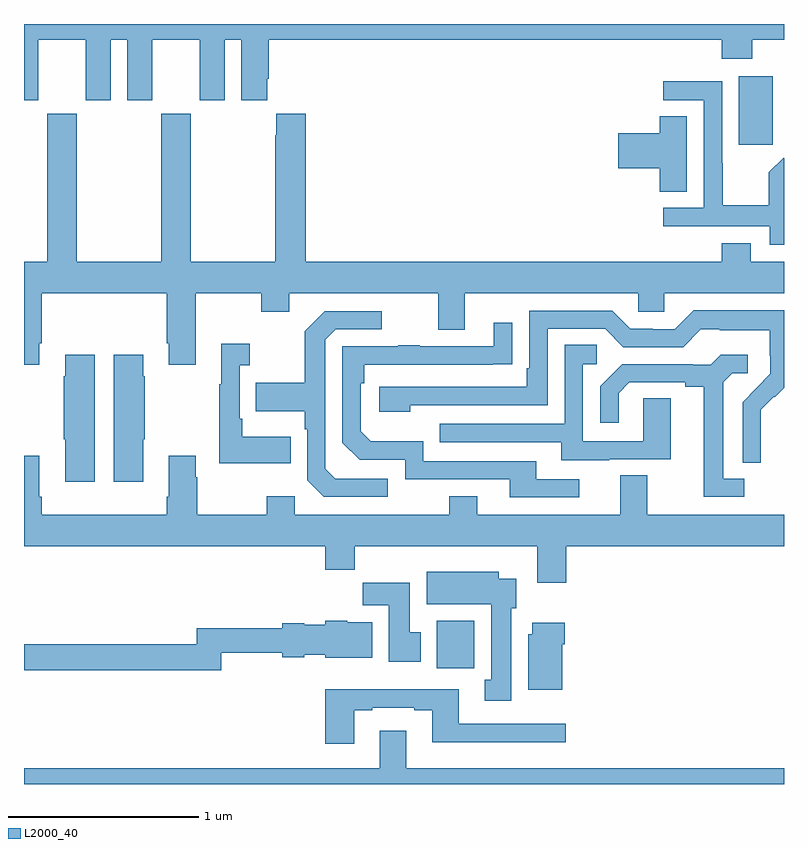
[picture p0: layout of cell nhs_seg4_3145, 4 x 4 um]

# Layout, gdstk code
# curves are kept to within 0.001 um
import gdstk
lib = gdstk.Library(unit=1e-6, precision=1e-09)
def R(c, l, rs):  # rectangles x0, y0, x1, y1
    for r in rs: c.add(gdstk.rectangle(r[:2], r[2:], *l))
def P(c, l, *ps):  # polygons
    for p in ps: c.add(gdstk.Polygon(p, *l))
L2000_40 = (2000, 40)

nhs_seg4_3145 = lib.new_cell('nhs_seg4_3145')
R(nhs_seg4_3145, L2000_40, [(279.173,797.508,279.369,797.758), (280.763,800.265,280.942,800.626)])
P(nhs_seg4_3145, L2000_40, [(277.075,800.816),(277.325,800.816),(277.325,800.499),(277.456,800.499),(277.456,800.816),(277.544,800.816),(277.544,800.499),(277.675,800.499),(277.675,800.816),(277.925,800.816),(277.925,800.499),(278.056,800.499),(278.056,800.816),(278.144,800.816),(278.144,800.499),(278.281,800.499),(278.281,800.611),(278.288,800.611),(278.288,800.816),(280.673,800.816),(280.673,800.717),(280.833,800.717),(280.833,800.816),(281,800.816),(281,800.9),(277,800.9),(277,800.499),(277.075,800.499)],
  [(281,800.194),(280.998,800.196),(280.921,800.119),(280.921,799.945),(280.677,799.945),(280.677,800.168),(280.674,800.168),(280.674,800.598),(280.365,800.598),(280.365,800.499),(280.578,800.499),(280.578,799.932),(280.365,799.932),(280.365,799.836),(280.926,799.836),(280.926,799.739),(281,799.739)],
  [(277.878,800.428),(277.723,800.428),(277.723,799.648),(277.278,799.648),(277.278,800.428),(277.123,800.428),(277.123,799.648),(277,799.648),(277,799.107),(277.081,799.107),(277.081,799.219),(277.094,799.219),(277.094,799.484),(277.751,799.484),(277.751,799.219),(277.763,799.219),(277.763,799.107),(277.903,799.107),(277.903,799.484),(278.248,799.484),(278.248,799.385),(278.395,799.385),(278.395,799.484),(279.179,799.484),(279.179,799.29),(279.319,799.29),(279.319,799.484),(280.233,799.484),(280.233,799.386),(280.371,799.386),(280.371,799.484),(281,799.484),(281,799.648),(280.825,799.648),(280.825,799.747),(280.673,799.747),(280.673,799.648),(278.483,799.648),(278.483,800.428),(278.327,800.428),(278.327,800.315),(278.323,800.315),(278.323,799.648),(277.878,799.648)],
  [(280.489,800.414),(280.346,800.414),(280.346,800.324),(280.128,800.324),(280.128,800.141),(280.346,800.141),(280.346,800.017),(280.489,800.017)],
  [(280.878,798.746),(280.877,798.869),(280.947,798.939),(280.95,798.936),(281,798.986),(281,799.393),(280.525,799.393),(280.425,799.293),(280.31,799.293),(280.31,799.296),(280.191,799.296),(280.095,799.392),(279.66,799.392),(279.66,799.087),(279.647,799.087),(279.647,798.99),(278.871,798.99),(278.871,798.86),(279.032,798.86),(279.032,798.894),(279.756,798.894),(279.756,799.296),(280.059,799.296),(280.155,799.2),(280.47,799.2),(280.563,799.293),(280.663,799.293),(280.663,799.289),(280.926,799.289),(280.926,799.155),(280.928,799.155),(280.928,799.058),(280.782,798.91),(280.782,798.592),(280.878,798.592)],
  [(278.914,798.507),(278.637,798.507),(278.586,798.558),(278.586,799.239),(278.64,799.293),(278.884,799.293),(278.884,799.389),(278.583,799.389),(278.478,799.283),(278.478,799.011),(278.221,799.011),(278.221,798.863),(278.478,798.863),(278.478,798.767),(278.49,798.767),(278.49,798.498),(278.577,798.411),(278.914,798.411)],
  [(279.922,798.504),(279.697,798.504),(279.697,798.6),(279.102,798.6),(279.102,798.703),(278.825,798.703),(278.772,798.756),(278.772,799.01),(278.792,799.01),(278.792,799.107),(279.569,799.108),(279.569,799.327),(279.473,799.327),(279.473,799.203),(279.083,799.203),(279.083,799.208),(278.971,799.208),(278.971,799.203),(278.676,799.203),(278.676,798.696),(278.766,798.606),(279.006,798.606),(279.006,798.504),(279.557,798.504),(279.557,798.408),(279.922,798.408)],
  [(278.405,798.727),(278.149,798.727),(278.149,798.823),(278.136,798.823),(278.136,799.103),(278.188,799.103),(278.188,799.216),(278.039,799.216),(278.039,799.003),(278.028,799.003),(278.028,798.587),(278.405,798.587)],
  [(280.081,798.609),(280.405,798.609),(280.405,798.929),(280.26,798.929),(280.26,798.705),(279.942,798.705),(279.942,799.11),(280.015,799.11),(280.015,799.211),(279.846,799.211),(279.846,798.795),(279.187,798.795),(279.187,798.699),(279.827,798.699),(279.827,798.605),(280.081,798.605)],
  [(280.792,798.507),(280.681,798.507),(280.681,799.015),(280.728,799.062),(280.81,799.062),(280.81,799.159),(280.666,799.159),(280.614,799.107),(280.52,799.107),(280.52,799.11),(280.148,799.11),(280.032,798.994),(280.032,798.801),(280.129,798.801),(280.129,798.957),(280.186,799.014),(280.481,799.014),(280.481,798.992),(280.577,798.992),(280.577,798.411),(280.792,798.411)],
  [(277.627,798.715),(277.635,798.715),(277.635,799.046),(277.627,799.046),(277.627,799.159),(277.472,799.159),(277.472,798.492),(277.627,798.492)],
  [(277.372,799.159),(277.217,799.159),(277.217,799.046),(277.21,799.046),(277.21,798.715),(277.217,798.715),(277.217,798.492),(277.372,798.492)],
  [(279.854,798.152),(281,798.152),(281,798.316),(280.279,798.316),(280.279,798.524),(280.139,798.524),(280.139,798.316),(279.385,798.316),(279.385,798.415),(279.238,798.415),(279.238,798.316),(278.424,798.316),(278.424,798.415),(278.278,798.415),(278.278,798.316),(277.911,798.316),(277.911,798.515),(277.903,798.515),(277.903,798.628),(277.763,798.628),(277.763,798.412),(277.751,798.412),(277.751,798.316),(277.094,798.316),(277.094,798.412),(277.081,798.412),(277.081,798.628),(277,798.628),(277,798.152),(278.585,798.152),(278.585,798.028),(278.741,798.028),(278.741,798.152),(279.701,798.152),(279.701,797.958),(279.854,797.958)],
  [(279.565,797.826),(279.592,797.826),(279.592,797.98),(279.499,797.98),(279.499,798.016),(279.119,798.016),(279.119,797.846),(279.458,797.846),(279.458,797.449),(279.425,797.449),(279.425,797.337),(279.565,797.337)],
  [(279.088,797.7),(279.031,797.7),(279.031,797.958),(278.782,797.958),(278.782,797.84),(278.921,797.84),(278.921,797.544),(279.088,797.544)],
  [(278.038,797.59),(278.36,797.59),(278.36,797.567),(278.475,797.567),(278.475,797.579),(278.586,797.579),(278.586,797.564),(278.833,797.564),(278.833,797.752),(278.7,797.752),(278.7,797.758),(278.586,797.758),(278.586,797.737),(278.475,797.737),(278.475,797.745),(278.36,797.745),(278.36,797.719),(277.909,797.719),(277.909,797.636),(277,797.636),(277,797.5),(278.038,797.5)],
  [(279.832,797.636),(279.845,797.636),(279.845,797.749),(279.674,797.749),(279.674,797.688),(279.653,797.688),(279.653,797.396),(279.832,797.396)],
  [(278.737,797.289),(278.833,797.289),(278.833,797.301),(279.053,797.301),(279.053,797.289),(279.149,797.289),(279.149,797.12),(279.85,797.12),(279.85,797.217),(279.289,797.217),(279.289,797.398),(278.585,797.398),(278.585,797.112),(278.737,797.112)],
  [(281,796.984),(279.013,796.984),(279.013,797.179),(278.873,797.179),(278.873,796.984),(277,796.984),(277,796.9),(281,796.9)])

lib.write_gds('nhs_seg4_3145.gds')
